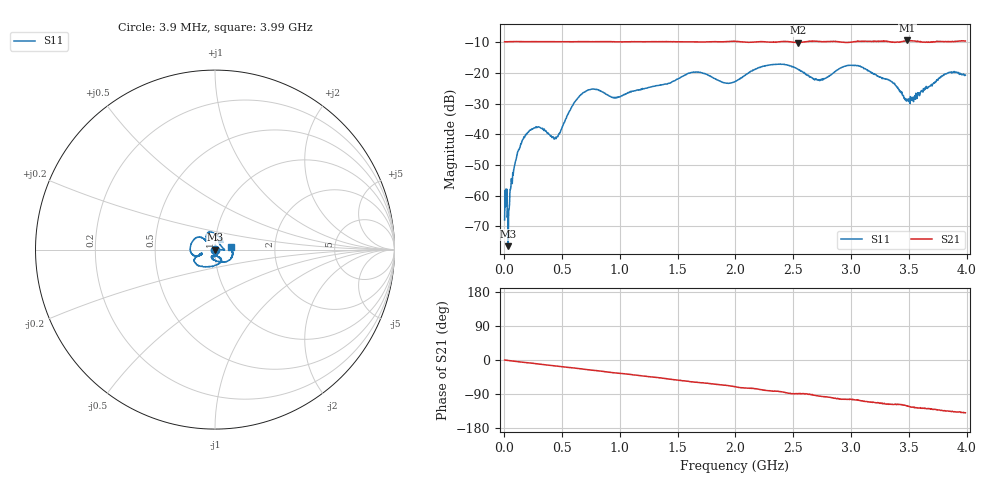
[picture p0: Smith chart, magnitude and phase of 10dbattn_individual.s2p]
# HZ S RI R 50
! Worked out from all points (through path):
!   1023 points, 3.9 MHz to 3.99 GHz, reference 50 ohm
!   highest |S21| = -9.45 dB at 3.487 GHz (marker M1); lowest = -10.1 dB at 2.543 GHz (marker M2)
!   group delay of S21, straight-line fit = 97 ps
!   lowest |S11| = -76.5 dB at 35.1 MHz (marker M3), VSWR 1.00, Z = 50 - j0.0103 ohm
!   |S11| at or under -10 dB: start of sweep to end of sweep
!   S12 and S22 are empty: the file has one direction only
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3900000  0.000373 0.000143  0.3209 -0.000539  0 0  0 0
3.51e7  0.000109 -0.000103  0.3213 -0.00565  0 0  0 0
4.68e7  0.0007 -0.000268  0.3222 -0.00811  0 0  0 0
7.02e7  0.00145 -0.000587  0.3224 -0.0133  0 0  0 0
1.014e8  0.00354 -0.00129  0.3227 -0.0209  0 0  0 0
1.794e8  0.00785 -0.00478  0.3201 -0.0367  0 0  0 0
2.925e8  0.00841 -0.0102  0.3183 -0.0579  0 0  0 0
4.485e8  0.00706 -0.00466  0.3104 -0.0877  0 0  0 0
6.708e8  0.0447 -0.00212  0.296 -0.129  0 0  0 0
7.839e8  0.054 -0.00259  0.285 -0.1495  0 0  0 0
9.711e8  0.0292 0.0261  0.2648 -0.1799  0 0  0 0
1.3338e9  0.0453 0.0428  0.2217 -0.2336  0 0  0 0
1.6536e9  -0.0331 0.0972  0.1655 -0.2725  0 0  0 0
1.9968e9  -0.0522 0.0492  0.1101 -0.3067  0 0  0 0
2.2776e9  -0.1227 0.0496  0.0511 -0.3138  0 0  0 0
2.5428e9  -0.1077 -0.037  0.00662 -0.3111  0 0  0 0
2.6637e9  -0.0803 -0.0209  -0.00391 -0.3241  0 0  0 0
3.0186e9  -0.1095 -0.0757  -0.0776 -0.3098  0 0  0 0
3.3267e9  0.0349 -0.0676  -0.148 -0.2889  0 0  0 0
3.4866e9  0.00316 -0.037  -0.1723 -0.2896  0 0  0 0
3.8259e9  0.0749 -0.0607  -0.2263 -0.2303  0 0  0 0
3.9897e9  0.0908 0.014  -0.2504 -0.2158  0 0  0 0
